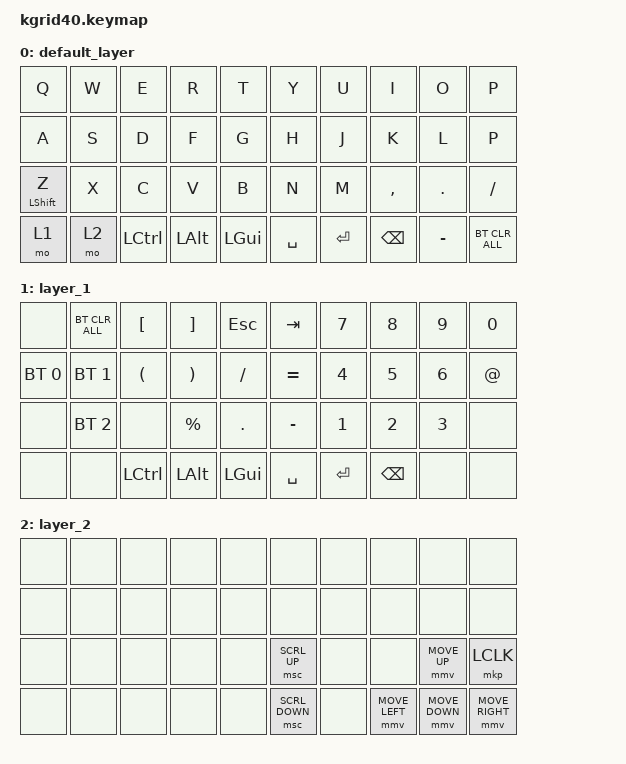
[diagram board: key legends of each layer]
#include <behaviors.dtsi>
#include <dt-bindings/zmk/bt.h>
#include <dt-bindings/zmk/keys.h>
#include <dt-bindings/zmk/pointing.h>

/ {
    /* コンボは干渉を避けるため削除した状態を維持します */

    keymap {
        compatible = "zmk,keymap";

        default_layer {
            bindings = <
&kp Q             &kp W  &kp E      &kp R     &kp T     &kp Y      &kp U      &kp I      &kp O      &kp P
&kp A             &kp S  &kp D      &kp F     &kp G     &kp H      &kp J      &kp K      &kp L      &kp P
&mt LEFT_SHIFT Z  &kp X  &kp C      &kp V     &kp B     &kp N      &kp M      &kp COMMA  &kp DOT    &kp FSLH
&mo 1             &mo 2  &kp LCTRL  &kp LALT  &kp LGUI  &kp SPACE  &kp ENTER  &kp BSPC   &kp MINUS  &bt BT_CLR_ALL
            >;
        };

        layer_1 {
            bindings = <
&none         &bt BT_CLR_ALL  &kp LBKT   &kp RBKT   &kp ESC    &kp TAB    &kp N7     &kp N8    &kp N9  &kp N0
&bt BT_SEL 0  &bt BT_SEL 1    &kp LPAR   &kp RPAR   &kp SLASH  &kp EQUAL  &kp N4     &kp N5    &kp N6  &kp AT
&none         &bt BT_SEL 2    &none      &kp PRCNT  &kp DOT    &kp MINUS  &kp N1     &kp N2    &kp N3  &none
&none         &none           &kp LCTRL  &kp LALT   &kp LGUI   &kp SPACE  &kp ENTER  &kp BSPC  &none   &none
            >;
        };

        layer_2 {
            bindings = <
&none  &none  &none  &none  &none  &none           &none  &none           &none           &none
&none  &none  &none  &none  &none  &none           &none  &none           &none           &none
&none  &none  &none  &none  &none  &msc SCRL_UP    &none  &none           &mmv MOVE_UP    &mkp LCLK
&none  &none  &none  &none  &none  &msc SCRL_DOWN  &none  &mmv MOVE_LEFT  &mmv MOVE_DOWN  &mmv MOVE_RIGHT
            >;
        };
    };
};
